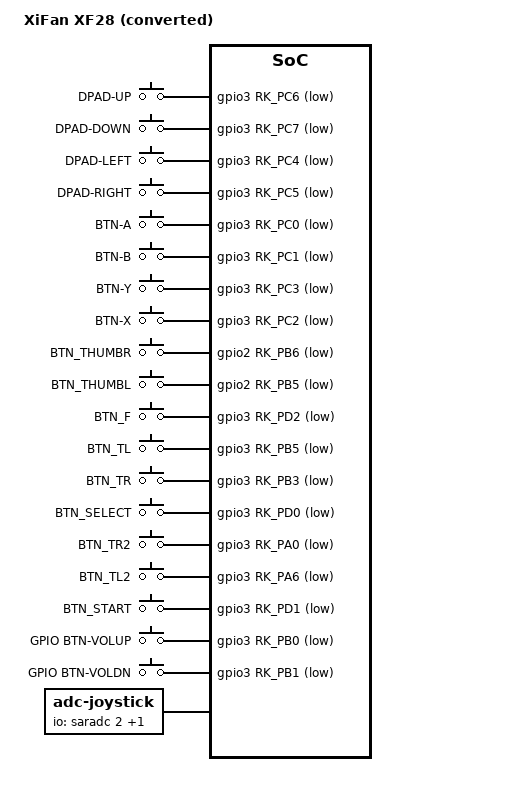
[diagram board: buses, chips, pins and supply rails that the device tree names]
// SPDX-License-Identifier: (GPL-2.0+ OR MIT)
/*
 * XiFan XF28, converted from a vendor RK3326 device tree by
 * `r36os dtb import` (boot-dtb-select D12). Do not edit: import again.
 * Source: arkos4clone/boot/dArkOS/consoles/xf28/rk3326-xf28-linux.dtb
 * SHA-256: a420b4bf92c7e363e2a48777f2f3158f3dcdba82eeeb33ce1f5856b5d58b6a77
 * Note: power: OTG_SWITCH not declared by the source: no voltage set, left on
 * Note: speaker gain: source spk-volume 3 ignored, the native safe value is used
 */

#include "rk3326-r36s-v5.dts"

/ {
	model = "XiFan XF28 (converted)";

	lume-select {
		lume,id = "arkos4clone-xf28";
		lume,priority = <0>;
		/delete-property/ lume,default;
		/delete-property/ lume,panel-id;
	};

	/delete-node/ gpio-keys;
	/delete-node/ volume-keys;

	gpio-keys {
		compatible = "gpio-keys";
		pinctrl-names = "default";
		pinctrl-0 = <&btn_pins>;

		button-dpad-up {
			gpios = <&gpio3 RK_PC6 GPIO_ACTIVE_LOW>;
			label = "DPAD-UP";
			linux,code = <0x220>;
		};

		button-dpad-down {
			gpios = <&gpio3 RK_PC7 GPIO_ACTIVE_LOW>;
			label = "DPAD-DOWN";
			linux,code = <0x221>;
		};

		button-dpad-left {
			gpios = <&gpio3 RK_PC4 GPIO_ACTIVE_LOW>;
			label = "DPAD-LEFT";
			linux,code = <0x222>;
		};

		button-dpad-right {
			gpios = <&gpio3 RK_PC5 GPIO_ACTIVE_LOW>;
			label = "DPAD-RIGHT";
			linux,code = <0x223>;
		};

		button-btn-a {
			gpios = <&gpio3 RK_PC0 GPIO_ACTIVE_LOW>;
			label = "BTN-A";
			linux,code = <0x131>;
		};

		button-btn-b {
			gpios = <&gpio3 RK_PC1 GPIO_ACTIVE_LOW>;
			label = "BTN-B";
			linux,code = <0x130>;
		};

		button-btn-y {
			gpios = <&gpio3 RK_PC3 GPIO_ACTIVE_LOW>;
			label = "BTN-Y";
			linux,code = <0x134>;
		};

		button-btn-x {
			gpios = <&gpio3 RK_PC2 GPIO_ACTIVE_LOW>;
			label = "BTN-X";
			linux,code = <0x133>;
		};

		button-btn-thumbr {
			gpios = <&gpio2 RK_PB6 GPIO_ACTIVE_LOW>;
			label = "BTN_THUMBR";
			linux,code = <0x2c3>;
		};

		button-btn-thumbl {
			gpios = <&gpio2 RK_PB5 GPIO_ACTIVE_LOW>;
			label = "BTN_THUMBL";
			linux,code = <0x2c2>;
		};

		button-btn-f {
			gpios = <&gpio3 RK_PD2 GPIO_ACTIVE_LOW>;
			label = "BTN_F";
			linux,code = <0x2c4>;
		};

		button-btn-tl {
			gpios = <&gpio3 RK_PB5 GPIO_ACTIVE_LOW>;
			label = "BTN_TL";
			linux,code = <0x136>;
		};

		button-btn-tr {
			gpios = <&gpio3 RK_PB3 GPIO_ACTIVE_LOW>;
			label = "BTN_TR";
			linux,code = <0x137>;
		};

		button-btn-select {
			gpios = <&gpio3 RK_PD0 GPIO_ACTIVE_LOW>;
			label = "BTN_SELECT";
			linux,code = <0x2c0>;
		};

		button-btn-tr2 {
			gpios = <&gpio3 RK_PA0 GPIO_ACTIVE_LOW>;
			label = "BTN_TR2";
			linux,code = <0x139>;
		};

		button-btn-tl2 {
			gpios = <&gpio3 RK_PA6 GPIO_ACTIVE_LOW>;
			label = "BTN_TL2";
			linux,code = <0x138>;
		};

		button-btn-start {
			gpios = <&gpio3 RK_PD1 GPIO_ACTIVE_LOW>;
			label = "BTN_START";
			linux,code = <0x2c1>;
		};
	};

	volume-keys {
		compatible = "gpio-keys";
		pinctrl-names = "default";
		pinctrl-0 = <&vol_pins>;
		autorepeat;

		button-gpio-btn-volup {
			gpios = <&gpio3 RK_PB0 GPIO_ACTIVE_LOW>;
			label = "GPIO BTN-VOLUP";
			linux,code = <0x73>;
		};

		button-gpio-btn-voldn {
			gpios = <&gpio3 RK_PB1 GPIO_ACTIVE_LOW>;
			label = "GPIO BTN-VOLDN";
			linux,code = <0x72>;
		};
	};

	/delete-node/ adc-joystick;

	/delete-node/ adc-mux;
	/delete-node/ mux-controller;

	adc-joystick {
		compatible = "adc-joystick";
		io-channels = <&saradc 2>,
			      <&saradc 1>;
		poll-interval = <10>;
		#address-cells = <1>;
		#size-cells = <0>;

		axis@0 {
			reg = <0>;
			abs-flat = <32>;
			abs-fuzz = <32>;
			abs-range = <1023 0>;
			linux,code = <ABS_Y>;
		};

		axis@1 {
			reg = <1>;
			abs-flat = <32>;
			abs-fuzz = <32>;
			abs-range = <1023 0>;
			linux,code = <ABS_X>;
		};
	};

	/delete-node/ gpio-leds;

	rk817-sound {
		simple-audio-card,hp-det-gpios = <&gpio2 RK_PC6 GPIO_ACTIVE_LOW>;
	};
};

&internal_display {
	compatible = "rocknix,generic-dsi";
	/delete-property/ vcc-supply;
	vdd-supply = <&vcc_lcd>;
	reset-gpios = <&gpio3 RK_PD3 GPIO_ACTIVE_LOW>;
	enable-gpios = <&gpio3 RK_PA3 GPIO_ACTIVE_HIGH>;
	panel_description =
		"G size=153,85 delays=20,20,20,120,20 format=rgb888 lanes=2 flags=0xe03",
		"M clock=23000 horizontal=480,46,2,44 vertical=640,16,2,14 default=1",
		"M clock=23000 horizontal=480,44,2,44 vertical=640,16,2,14",
		"I seq=ff30",
		"I seq=ff49",
		"I seq=ff01",
		"I seq=e200",
		"I seq=1110",
		"I seq=1410",
		"I seq=3b00",
		"I seq=4132",
		"I seq=4502",
		"I seq=467f",
		"I seq=513c",
		"I seq=5201",
		"I seq=5322",
		"I seq=5480",
		"I seq=5580",
		"I seq=5610",
		"I seq=5737",
		"I seq=5900",
		"I seq=5a00",
		"I seq=5b82",
		"I seq=5c60",
		"I seq=79fe",
		"I seq=7d08",
		"I seq=9002",
		"I seq=9100",
		"I seq=940e",
		"I seq=9606",
		"I seq=c867",
		"I seq=cab2",
		"I seq=cc5e",
		"I seq=ce03",
		"I seq=a124",
		"I seq=b526",
		"I seq=a220",
		"I seq=b624",
		"I seq=a511",
		"I seq=b915",
		"I seq=a60f",
		"I seq=ba0b",
		"I seq=a340",
		"I seq=b740",
		"I seq=a444",
		"I seq=b844",
		"I seq=a80e",
		"I seq=bc0f",
		"I seq=a914",
		"I seq=bd10",
		"I seq=aa14",
		"I seq=be10",
		"I seq=ab12",
		"I seq=bf12",
		"I seq=ac12",
		"I seq=c010",
		"I seq=ad14",
		"I seq=c110",
		"I seq=ae12",
		"I seq=c20e",
		"I seq=af10",
		"I seq=c30e",
		"I seq=b011",
		"I seq=c40d",
		"I seq=b10b",
		"I seq=c505",
		"I seq=a039",
		"I seq=b439",
		"I seq=a70a",
		"I seq=bb0a",
		"I seq=ff30 # 2",
		"I seq=ff49 # 2",
		"I seq=ff02",
		"I seq=5022",
		"I seq=517f",
		"I seq=527f",
		"I seq=6715",
		"I seq=68df",
		"I seq=699f",
		"I seq=ff30 # 3",
		"I seq=ff49 # 3",
		"I seq=ff03",
		"I seq=0022",
		"I seq=0180",
		"I seq=0282",
		"I seq=0f22",
		"I seq=1081",
		"I seq=1183",
		"I seq=2788",
		"I seq=2805",
		"I seq=2903",
		"I seq=3688",
		"I seq=3704",
		"I seq=3802",
		"I seq=7b30",
		"I seq=8083",
		"I seq=8132",
		"I seq=8279",
		"I seq=8305",
		"I seq=8490",
		"I seq=8590",
		"I seq=8882",
		"I seq=8932",
		"I seq=8a7a",
		"I seq=8b11",
		"I seq=8c90",
		"I seq=8d90",
		"I seq=8e81",
		"I seq=8f32",
		"I seq=907b",
		"I seq=9111",
		"I seq=9290",
		"I seq=9390",
		"I seq=9480",
		"I seq=9532",
		"I seq=967c",
		"I seq=9711",
		"I seq=9890",
		"I seq=9990",
		"I seq=9a01",
		"I seq=9b32",
		"I seq=9c7d",
		"I seq=9d05",
		"I seq=9e90",
		"I seq=9f90",
		"I seq=a202",
		"I seq=a332",
		"I seq=a47e",
		"I seq=a511 # 2",
		"I seq=a690",
		"I seq=a790",
		"I seq=a803",
		"I seq=a932",
		"I seq=aa7f",
		"I seq=ab11",
		"I seq=ac90",
		"I seq=ad90",
		"I seq=ae04",
		"I seq=af32",
		"I seq=b080",
		"I seq=b111",
		"I seq=b290",
		"I seq=b390",
		"I seq=f740",
		"I seq=f840",
		"I seq=d01f",
		"I seq=d11f",
		"I seq=d205",
		"I seq=d30b",
		"I seq=d40d",
		"I seq=d50f",
		"I seq=d611",
		"I seq=d71f",
		"I seq=d81b",
		"I seq=d91a",
		"I seq=da01",
		"I seq=db1f",
		"I seq=dc1f",
		"I seq=dd1f",
		"I seq=de1f",
		"I seq=df1f",
		"I seq=e01f",
		"I seq=e11f",
		"I seq=e21f",
		"I seq=e31f",
		"I seq=e41f",
		"I seq=e500",
		"I seq=e61a",
		"I seq=e71b",
		"I seq=e81f",
		"I seq=e910",
		"I seq=ea0e",
		"I seq=eb0c",
		"I seq=ec0a",
		"I seq=ed04",
		"I seq=ee1f",
		"I seq=ef1f",
		"I seq=ff30 # 4",
		"I seq=ff49 # 4",
		"I seq=ff00",
		"I seq=3500",
		"I seq=11 wait=78",
		"I seq=29 wait=14";
};

&dsi {
	rockchip,lane-rate = <306>;
};

&backlight {
	pwms = <&pwm1 0 25000 0>;
	/delete-property/ num-interpolated-steps;
	brightness-levels = <0 1 2 3 4 5 6 7 8 9 10 11 12 13 14 15 16 17 18 19 20 21 22 23 24 25 26 27 28 29 30 31 32 33 34 35 36 37 38 39 40 41 42 43 44 45 46 47 48 49 50 51 52 53 54 55 56 57 58 59 60 61 62 63 64 65 66 67 68 69 70 71 72 73 74 75 76 77 78 79 80 81 82 83 84 85 86 87 88 89 90 91 92 93 94 95 96 97 98 99 100 101 102 103 104 105 106 107 108 109 110 111 112 113 114 115 116 117 118 119 120 121 122 123 124 125 126 127 128 129 130 131 132 133 134 135 136 137 138 139 140 141 142 143 144 145 146 147 148 149 150 151 152 153 154 155 156 157 158 159 160 161 162 163 164 165 166 167 168 169 170 171 172 173 174 175 176 177 178 179 180 181 182 183 184 185 186 187 188 189 190 191 192 193 194 195 196 197 198 199 200 201 202 203 204 205 206 207 208 209 210 211 212 213 214 215 216 217 218 219 220 221 222 223 224 225 226 227 228 229 230 231 232 233 234 235 236 237 238 239 240 241 242 243 244 245 246 247 248 249 250 251 252 253 254 255>;
	default-brightness-level = <200>;
};

&battery {
	charge-full-design-microamp-hours = <2832000>;
	voltage-max-design-microvolt = <4046000>;
	voltage-min-design-microvolt = <3300000>;
	ocv-capacity-table-0 = <4046000 100>,
				<4001000 95>,
				<3967000 90>,
				<3940000 85>,
				<3910000 80>,
				<3870000 75>,
				<3830000 70>,
				<3790000 65>,
				<3750000 60>,
				<3720000 55>,
				<3690000 50>,
				<3650000 45>,
				<3610000 40>,
				<3570000 35>,
				<3540000 30>,
				<3500000 25>,
				<3460000 20>,
				<3420000 15>,
				<3380000 10>,
				<3340000 5>,
				<3300000 0>;
};

&spk_amp {
	enable-gpios = <&gpio3 RK_PA7 GPIO_ACTIVE_HIGH>;
};

&rk817 {
	interrupt-parent = <&gpio0>;
	interrupts = <RK_PB2 IRQ_TYPE_LEVEL_LOW>;
};

&rk817 {
	regulators {
		DCDC_REG1 {
			regulator-always-on;
			regulator-boot-on;
			regulator-min-microvolt = <950000>;
			regulator-max-microvolt = <1350000>;
			regulator-name = "vdd_logic";

			regulator-state-mem {
				regulator-on-in-suspend;
				/delete-property/ regulator-off-in-suspend;
				regulator-suspend-microvolt = <950000>;
			};
		};
		DCDC_REG2 {
			regulator-always-on;
			regulator-boot-on;
			regulator-min-microvolt = <950000>;
			regulator-max-microvolt = <1350000>;
			regulator-name = "vdd_arm";

			regulator-state-mem {
				/delete-property/ regulator-on-in-suspend;
				regulator-off-in-suspend;
				regulator-suspend-microvolt = <950000>;
			};
		};
		DCDC_REG3 {
			regulator-always-on;
			regulator-boot-on;
			/delete-property/ regulator-min-microvolt;
			/delete-property/ regulator-max-microvolt;
			regulator-name = "vcc_ddr";

			regulator-state-mem {
				regulator-on-in-suspend;
				/delete-property/ regulator-off-in-suspend;
				/delete-property/ regulator-suspend-microvolt;
			};
		};
		DCDC_REG4 {
			regulator-always-on;
			regulator-boot-on;
			regulator-min-microvolt = <3000000>;
			regulator-max-microvolt = <3000000>;
			regulator-name = "vcc_3v0";

			regulator-state-mem {
				/delete-property/ regulator-on-in-suspend;
				regulator-off-in-suspend;
				regulator-suspend-microvolt = <3000000>;
			};
		};
		LDO_REG1 {
			regulator-always-on;
			regulator-boot-on;
			regulator-min-microvolt = <1000000>;
			regulator-max-microvolt = <1000000>;
			regulator-name = "vcc_1v0";

			regulator-state-mem {
				regulator-on-in-suspend;
				/delete-property/ regulator-off-in-suspend;
				regulator-suspend-microvolt = <1000000>;
			};
		};
		LDO_REG2 {
			regulator-always-on;
			regulator-boot-on;
			regulator-min-microvolt = <1800000>;
			regulator-max-microvolt = <1800000>;
			regulator-name = "vcc1v8_soc";

			regulator-state-mem {
				regulator-on-in-suspend;
				/delete-property/ regulator-off-in-suspend;
				regulator-suspend-microvolt = <1800000>;
			};
		};
		LDO_REG3 {
			regulator-always-on;
			regulator-boot-on;
			regulator-min-microvolt = <1000000>;
			regulator-max-microvolt = <1000000>;
			regulator-name = "vcc1v0_soc";

			regulator-state-mem {
				regulator-on-in-suspend;
				/delete-property/ regulator-off-in-suspend;
				regulator-suspend-microvolt = <1000000>;
			};
		};
		LDO_REG4 {
			regulator-always-on;
			regulator-boot-on;
			regulator-min-microvolt = <3000000>;
			regulator-max-microvolt = <3000000>;
			regulator-name = "vcc3v0_pmu";

			regulator-state-mem {
				regulator-on-in-suspend;
				/delete-property/ regulator-off-in-suspend;
				regulator-suspend-microvolt = <3000000>;
			};
		};
		LDO_REG5 {
			regulator-always-on;
			regulator-boot-on;
			regulator-min-microvolt = <1800000>;
			regulator-max-microvolt = <3300000>;
			regulator-name = "vccio_sd";

			regulator-state-mem {
				regulator-on-in-suspend;
				/delete-property/ regulator-off-in-suspend;
				regulator-suspend-microvolt = <3300000>;
			};
		};
		LDO_REG6 {
			regulator-min-microvolt = <3300000>;
			regulator-max-microvolt = <3300000>;
			regulator-name = "vcc_sd";

			regulator-state-mem {
				regulator-on-in-suspend;
				/delete-property/ regulator-off-in-suspend;
				regulator-suspend-microvolt = <3300000>;
			};
		};
		LDO_REG7 {
			regulator-always-on;
			regulator-boot-on;
			regulator-min-microvolt = <1800000>;
			regulator-max-microvolt = <3300000>;
			regulator-name = "vcc2v8_dvp";

			regulator-state-mem {
				regulator-on-in-suspend;
				/delete-property/ regulator-off-in-suspend;
				regulator-suspend-microvolt = <3300000>;
			};
		};
		LDO_REG8 {
			regulator-always-on;
			regulator-boot-on;
			regulator-min-microvolt = <3300000>;
			regulator-max-microvolt = <3300000>;
			regulator-name = "vcc_lcd";

			regulator-state-mem {
				regulator-on-in-suspend;
				/delete-property/ regulator-off-in-suspend;
				regulator-suspend-microvolt = <3300000>;
			};
		};
		LDO_REG9 {
			regulator-always-on;
			regulator-boot-on;
			regulator-min-microvolt = <1500000>;
			regulator-max-microvolt = <1500000>;
			regulator-name = "vdd1v5_dvp";

			regulator-state-mem {
				/delete-property/ regulator-on-in-suspend;
				regulator-off-in-suspend;
				regulator-suspend-microvolt = <1500000>;
			};
		};
		BOOST {
			regulator-always-on;
			regulator-boot-on;
			regulator-min-microvolt = <5000000>;
			regulator-max-microvolt = <5400000>;
			regulator-name = "boost";
			/delete-node/ regulator-state-mem;
		};
		OTG_SWITCH {
			/delete-property/ regulator-min-microvolt;
			/delete-property/ regulator-max-microvolt;
			/delete-node/ regulator-state-mem;
		};
	};
};

&io_domains {
	vccio1-supply = <&{/i2c@ff180000/pmic@20/regulators/LDO_REG7}>;
	vccio2-supply = <&{/i2c@ff180000/pmic@20/regulators/LDO_REG5}>;
	vccio3-supply = <&{/i2c@ff180000/pmic@20/regulators/LDO_REG2}>;
	vccio4-supply = <&{/i2c@ff180000/pmic@20/regulators/DCDC_REG4}>;
	vccio5-supply = <&{/i2c@ff180000/pmic@20/regulators/DCDC_REG4}>;
	vccio6-supply = <&{/i2c@ff180000/pmic@20/regulators/LDO_REG2}>;
	/delete-property/ vccio-oscgpi-supply;
};

&pmu_io_domains {
	pmuio1-supply = <&{/i2c@ff180000/pmic@20/regulators/LDO_REG4}>;
	pmuio2-supply = <&{/i2c@ff180000/pmic@20/regulators/LDO_REG4}>;
};

&gpio0 {
	/delete-node/ joystick-mux-en-hog;
};

&gpio1 {
	/delete-node/ lcd-enable-hog;
};

&gpio3 {
	/delete-node/ lcd-stbyb-hog;
};

&btn_pins {
	rockchip,pins =
		<3 RK_PC6 RK_FUNC_GPIO &pcfg_pull_up>,
		<3 RK_PC7 RK_FUNC_GPIO &pcfg_pull_up>,
		<3 RK_PC4 RK_FUNC_GPIO &pcfg_pull_up>,
		<3 RK_PC5 RK_FUNC_GPIO &pcfg_pull_up>,
		<3 RK_PC0 RK_FUNC_GPIO &pcfg_pull_up>,
		<3 RK_PC1 RK_FUNC_GPIO &pcfg_pull_up>,
		<3 RK_PC3 RK_FUNC_GPIO &pcfg_pull_up>,
		<3 RK_PC2 RK_FUNC_GPIO &pcfg_pull_up>,
		<2 RK_PB6 RK_FUNC_GPIO &pcfg_pull_up>,
		<2 RK_PB5 RK_FUNC_GPIO &pcfg_pull_up>,
		<3 RK_PD2 RK_FUNC_GPIO &pcfg_pull_up>,
		<3 RK_PB5 RK_FUNC_GPIO &pcfg_pull_up>,
		<3 RK_PB3 RK_FUNC_GPIO &pcfg_pull_up>,
		<3 RK_PD0 RK_FUNC_GPIO &pcfg_pull_up>,
		<3 RK_PA0 RK_FUNC_GPIO &pcfg_pull_up>,
		<3 RK_PA6 RK_FUNC_GPIO &pcfg_pull_up>,
		<3 RK_PD1 RK_FUNC_GPIO &pcfg_pull_up>;
};

&vol_pins {
	rockchip,pins =
		<3 RK_PB0 RK_FUNC_GPIO &pcfg_pull_up>,
		<3 RK_PB1 RK_FUNC_GPIO &pcfg_pull_up>;
};

&hp_det {
	rockchip,pins = <2 RK_PC6 RK_FUNC_GPIO &pcfg_pull_none>;
};

&spk_amp_enable_h {
	rockchip,pins = <3 RK_PA7 RK_FUNC_GPIO &pcfg_pull_none>;
};

&pmic_int {
	rockchip,pins = <0 RK_PB2 RK_FUNC_GPIO &pcfg_pull_up>;
};
